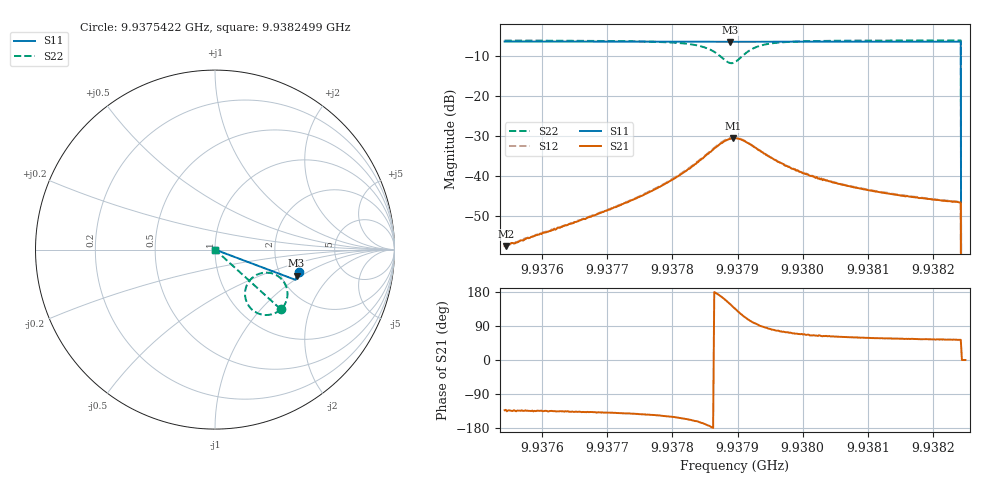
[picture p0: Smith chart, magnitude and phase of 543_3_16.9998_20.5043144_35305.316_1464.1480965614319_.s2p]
#  HZ  S  RI  R  50.00
! Rohde & Schwarz Vector Network Analyzer
! Rohde-Schwarz,ZNB20-2Port,1311601062101988,3.16
! Created: UTC 3/20/2024, 11:16:24 PM
! freq[Hz]  re:S11  im:S11  re:S21  im:S21  re:S12  im:S12  re:S22  im:S22
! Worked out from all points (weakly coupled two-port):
!   401 points, 9.9375422 GHz to 9.9382499 GHz, reference 50 ohm
!   highest |S21| = -30.49 dB at 9.9378925 GHz (marker M1); lowest = -57.5 dB at 9.9375439 GHz (marker M2)
!   lowest |S11| = -6.4 dB at 9.937889 GHz (marker M3), VSWR 2.83, Z = 121 - j45.7 ohm
!   |S11| at or under -10 dB: 9.9382429 GHz to end of sweep
!   |S22| runs from - to -6.1 dB; largest |S21 - S12| = 0.0013
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9.93754218e9  0.4663 -0.1243  -0.000914 -0.000993  -0.000949 -0.000983  0.3669 -0.3335
9.93754395e9  0.4662 -0.1244  -0.000887 -0.001  -0.000962 -0.000978  0.3669 -0.3336
9.93766072e9  0.4635 -0.1323  -0.00213 -0.00193  -0.00213 -0.00196  0.3507 -0.3454
9.93771734e9  0.462 -0.1361  -0.00328 -0.00274  -0.00337 -0.00274  0.3375 -0.3526
9.93777927e9  0.4602 -0.1404  -0.00611 -0.00405  -0.00626 -0.00405  0.3103 -0.3621
9.93781289e9  0.459 -0.1428  -0.00944 -0.00476  -0.00972 -0.0047  0.2808 -0.3646
9.9378465e9  0.4574 -0.145  -0.0163 -0.00386  -0.0168 -0.00354  0.2252 -0.3481
9.93786066e9  0.4565 -0.1457  -0.021 -0.000889  -0.0213 -0.000346  0.1923 -0.319
9.93787304e9  0.4556 -0.146  -0.0249 0.00467  -0.0252 0.00531  0.1695 -0.2695
9.93788897e9  0.4548 -0.1455  -0.0246 0.016  -0.0246 0.0173  0.189 -0.1777
9.93789251e9  0.455 -0.1454  -0.0232 0.0189  -0.0231 0.0198  0.2045 -0.1599
9.93789604e9  0.455 -0.1454  -0.0212 0.0208  -0.021 0.0221  0.2238 -0.1457
9.9379102e9  0.4558 -0.1455  -0.0115 0.0252  -0.0107 0.0258  0.3067 -0.1301
9.93792258e9  0.4562 -0.1463  -0.00416 0.0237  -0.00364 0.024  0.3589 -0.1538
9.93793674e9  0.4567 -0.1475  0.000356 0.0202  0.000844 0.0202  0.3886 -0.1886
9.93797389e9  0.4563 -0.1506  0.00391 0.0129  0.00417 0.0131  0.4039 -0.2513
9.93801459e9  0.4554 -0.1539  0.00429 0.00906  0.0045 0.00914  0.3981 -0.2838
9.9380659e9  0.4539 -0.1573  0.00378 0.00668  0.00395 0.00669  0.3891 -0.3047
9.93813313e9  0.4522 -0.1619  0.00331 0.00507  0.00342 0.0051  0.3799 -0.3199
9.93823929e9  0.4493 -0.1686  0.00284 0.00381  0.00294 0.00382  0.3686 -0.3336
9.93824814e9  0 0  0 0  0 0  0 0
9.93824991e9  0 0  0 0  0 0  0 0
